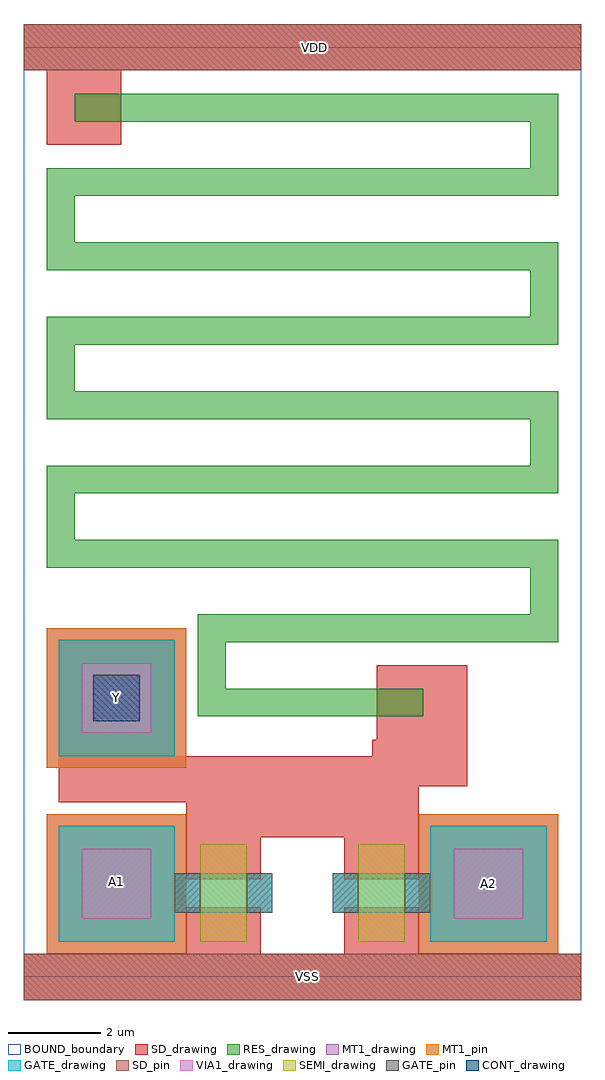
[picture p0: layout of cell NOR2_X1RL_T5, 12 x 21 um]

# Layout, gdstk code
from math import pi, radians
import gdstk
lib = gdstk.Library(unit=1e-6, precision=1e-09)
def R(c, l, rs):  # rectangles x0, y0, x1, y1
    for r in rs: c.add(gdstk.rectangle(r[:2], r[2:], *l))
def P(c, l, *ps):  # polygons
    for p in ps: c.add(gdstk.Polygon(p, *l))
RES_drawing = (1, 0)
SEMI_drawing = (3, 0)
SD_drawing = (10, 0)
SD_pin = (10, 3)
GATE_drawing = (11, 0)
GATE_pin = (11, 3)
MT1_drawing = (20, 0)
MT1_pin = (20, 3)
CONT_drawing = (30, 0)
VIA1_drawing = (41, 0)
BOUND_boundary = (150, 5)

nch_cdns_772545055480 = lib.new_cell('nch_CDNS_772545055480')
R(nch_cdns_772545055480, SEMI_drawing, [(-1.05,-0.5,1.05,0.5)])
R(nch_cdns_772545055480, SD_drawing, [(-1.3,-0.8,-0.3,0.8), (0.3,-0.8,1.3,0.8)])
R(nch_cdns_772545055480, GATE_drawing, [(-0.425,-1.05,0.425,1.05)])
R(nch_cdns_772545055480, GATE_pin, [(-0.425,-1.05,0.425,-0.5), (-0.425,0.5,0.425,1.05)])

gate_mt1_cdns_7725450554 = lib.new_cell('GATE_MT1_CDNS_772545055480')
R(gate_mt1_cdns_7725450554, GATE_drawing, [(-1.25,-1.25,1.25,1.25)])
R(gate_mt1_cdns_7725450554, MT1_drawing, [(-1.25,-1.25,1.25,1.25)])
R(gate_mt1_cdns_7725450554, VIA1_drawing, [(-0.75,-0.75,0.75,0.75)])

sd_gate_cdns_77254505548 = lib.new_cell('SD_GATE_CDNS_772545055481')
R(sd_gate_cdns_77254505548, SD_drawing, [(-1,-1,1,1)])
R(sd_gate_cdns_77254505548, GATE_drawing, [(-1,-1,1,1)])
R(sd_gate_cdns_77254505548, CONT_drawing, [(-0.5,-0.5,0.5,0.5)])

nor2_x1rl_t5 = lib.new_cell('NOR2_X1RL_T5')
R(nor2_x1rl_t5, SD_drawing, [(0.75,4.75,3.25,7.25), (0.5,17.9,2.1,19.5)])
R(nor2_x1rl_t5, SD_pin, [(0,-0.5,12,0.5), (0,19.5,12,20.5)])
P(nor2_x1rl_t5, GATE_drawing, [(8.85,1.275),(8.85,2.275),(8.75,2.275),(8.75,2.175),(8.7,2.175),(8.7,1.425),(8.75,1.425),(8.75,1.275)],
  [(3.15,2.325),(3.15,1.325),(3.25,1.325),(3.25,1.425),(3.3,1.425),(3.3,2.175),(3.25,2.175),(3.25,2.325)])
R(nor2_x1rl_t5, MT1_drawing, [(0.5,0.5,3.5,3.5), (8.5,0.5,11.5,3.5), (0.5,4.5,3.5,7.5)])
R(nor2_x1rl_t5, MT1_pin, [(0.5,0.5,3.5,3.5), (8.5,0.5,11.5,3.5), (0.5,4.5,3.5,7.5)])
R(nor2_x1rl_t5, BOUND_boundary, [(0,0,12,20)])
nor2_x1rl_t5.add(gdstk.FlexPath([(1.25,4.25),(8,4.25)], 1, ends="extended", simple_path=True, layer=10, datatype=0))  # SD_drawing
nor2_x1rl_t5.add(gdstk.FlexPath([(8,4.25),(8,4.6)], 1, ends="extended", simple_path=True, layer=10, datatype=0))  # SD_drawing
nor2_x1rl_t5.add(gdstk.FlexPath([(8,4.6),(9.55,4.6)], 1, ends=(0.5, 0), simple_path=True, layer=10, datatype=0))  # SD_drawing
nor2_x1rl_t5.add(gdstk.FlexPath([(8,4.25),(8.5,4.25)], 1, ends=(0.5, 0), simple_path=True, layer=10, datatype=0))  # SD_drawing
nor2_x1rl_t5.add(gdstk.FlexPath([(8,3.5),(8,4.25)], 1, ends="extended", simple_path=True, layer=10, datatype=0))  # SD_drawing
nor2_x1rl_t5.add(gdstk.FlexPath([(3.5,3.5),(8,3.5)], 1, ends=(0, 0.5), simple_path=True, layer=10, datatype=0))  # SD_drawing
nor2_x1rl_t5.add(gdstk.FlexPath([(8.75,5.9),(7.6,5.9)], 1.6, ends=(0.8, 0), simple_path=True, layer=10, datatype=0))  # SD_drawing
nor2_x1rl_t5.add(gdstk.FlexPath([(0,20),(12,20)], 1, ends="flush", simple_path=True, layer=10, datatype=0))  # SD_drawing
nor2_x1rl_t5.add(gdstk.FlexPath([(0,0),(12,0)], 1, ends="flush", simple_path=True, layer=10, datatype=0))  # SD_drawing
nor2_x1rl_t5.add(gdstk.FlexPath([(8.6,5.9),(4.05,5.9),(4.05,7.5),(11.2,7.5),(11.2,9.1),(0.8,9.1),(0.8,10.7),(11.2,10.7),(11.2,12.3),(0.8,12.3),(0.8,13.9),(11.2,13.9),(11.2,15.5),(0.8,15.5),(0.8,17.1),(11.2,17.1),(11.2,18.7),(1.1,18.7)], 0.6, ends="flush", simple_path=True, layer=1, datatype=0))  # RES_drawing
nor2_x1rl_t5.add(gdstk.Reference(nch_cdns_772545055480, (7.7,1.8), rotation=pi/2))
nor2_x1rl_t5.add(gdstk.Reference(nch_cdns_772545055480, (4.3,1.8), rotation=pi/2))
nor2_x1rl_t5.add(gdstk.Reference(gate_mt1_cdns_7725450554, (10,2)))
nor2_x1rl_t5.add(gdstk.Reference(gate_mt1_cdns_7725450554, (2,2)))
nor2_x1rl_t5.add(gdstk.Reference(gate_mt1_cdns_7725450554, (2,6)))
nor2_x1rl_t5.add(gdstk.Reference(sd_gate_cdns_77254505548, (2,6)))
nor2_x1rl_t5.add(gdstk.Label('VSS', (6.1,0), layer=10, texttype=3))
nor2_x1rl_t5.add(gdstk.Label('VDD', (6.25,20), layer=10, texttype=3))
nor2_x1rl_t5.add(gdstk.Label('Y', (2,6), layer=20, texttype=3))
nor2_x1rl_t5.add(gdstk.Label('A2', (10,2), layer=20, texttype=3))
nor2_x1rl_t5.add(gdstk.Label('A1', (2,2.05), layer=20, texttype=3))

lib.write_gds('NOR2_X1RL_T5.gds')
